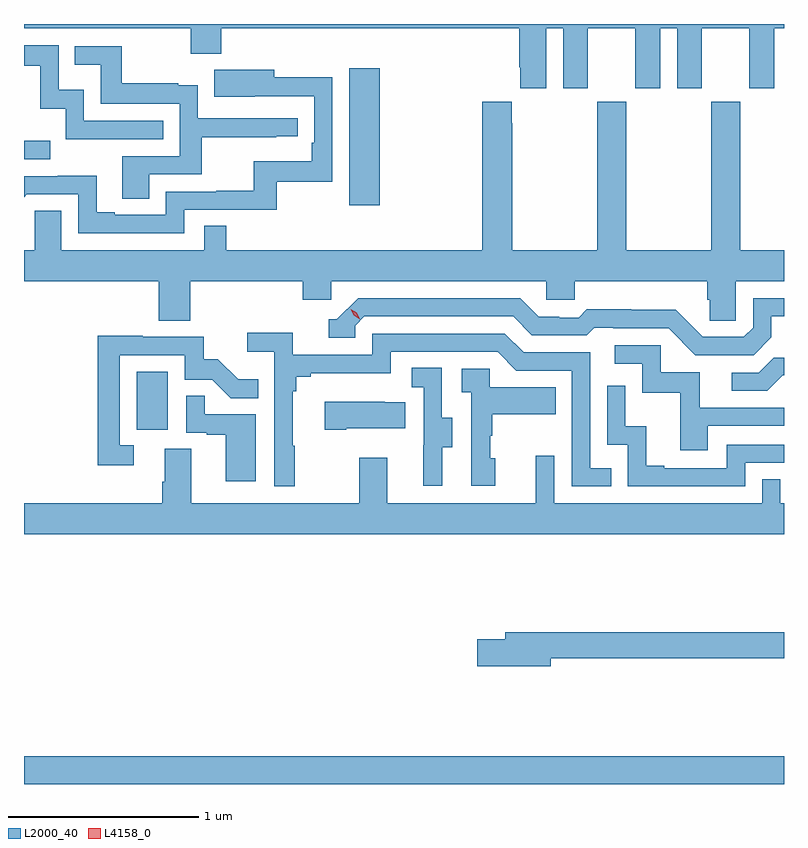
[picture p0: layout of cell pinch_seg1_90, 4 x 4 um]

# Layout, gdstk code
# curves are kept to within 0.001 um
import gdstk
lib = gdstk.Library(unit=1e-6, precision=1e-09)
def R(c, l, rs):  # rectangles x0, y0, x1, y1
    for r in rs: c.add(gdstk.rectangle(r[:2], r[2:], *l))
def P(c, l, *ps):  # polygons
    for p in ps: c.add(gdstk.Polygon(p, *l))
L2000_40 = (2000, 40)
L4158_0 = (4158, 0)

pinch_seg1_90 = lib.new_cell('pinch_seg1_90')
R(pinch_seg1_90, L2000_40, [(1019.871,551.75,1023.871,551.896), (1020.464,553.614,1020.628,553.921), (1021.583,554.796,1021.744,555.517), (1019.871,555.039,1020.01,555.136)])
P(pinch_seg1_90, L2000_40, [(1022.62,555.728),(1022.708,555.728),(1022.708,555.411),(1022.839,555.411),(1022.839,555.728),(1023.089,555.728),(1023.089,555.411),(1023.22,555.411),(1023.22,555.728),(1023.308,555.728),(1023.308,555.411),(1023.439,555.411),(1023.439,555.728),(1023.689,555.728),(1023.689,555.411),(1023.82,555.411),(1023.82,555.728),(1023.871,555.728),(1023.871,555.75),(1019.871,555.75),(1019.871,555.728),(1020.748,555.728),(1020.748,555.593),(1020.908,555.593),(1020.908,555.728),(1022.477,555.728),(1022.477,555.523),(1022.483,555.523),(1022.483,555.411),(1022.62,555.411)],
  [(1020.605,555.24),(1020.186,555.24),(1020.186,555.403),(1020.054,555.403),(1020.054,555.639),(1019.871,555.639),(1019.871,555.531),(1019.957,555.531),(1019.957,555.305),(1020.09,555.305),(1020.09,555.144),(1020.605,555.144)],
  [(1020.529,554.958),(1020.806,554.958),(1020.806,555.154),(1021.199,555.154),(1021.199,555.159),(1021.312,555.159),(1021.312,555.255),(1020.786,555.255),(1020.786,555.427),(1020.683,555.427),(1020.683,555.439),(1020.385,555.439),(1020.385,555.633),(1020.139,555.633),(1020.139,555.536),(1020.274,555.536),(1020.274,555.33),(1020.69,555.33),(1020.69,555.054),(1020.389,555.054),(1020.389,554.83),(1020.529,554.83)],
  [(1020.714,554.772),(1021.201,554.772),(1021.201,554.919),(1021.494,554.919),(1021.494,555.47),(1021.189,555.47),(1021.189,555.508),(1020.871,555.508),(1020.871,555.368),(1021.398,555.369),(1021.398,555.124),(1021.385,555.124),(1021.385,555.028),(1021.08,555.028),(1021.08,554.873),(1020.883,554.873),(1020.883,554.868),(1020.618,554.868),(1020.618,554.745),(1020.349,554.745),(1020.349,554.758),(1020.253,554.758),(1020.253,554.951),(1020.048,554.951),(1020.048,554.949),(1019.871,554.949),(1019.871,554.838),(1019.886,554.853),(1020.156,554.853),(1020.156,554.649),(1020.714,554.649)],
  [(1020.746,554.396),(1021.337,554.396),(1021.337,554.298),(1021.488,554.298),(1021.488,554.396),(1022.619,554.396),(1022.619,554.298),(1022.769,554.298),(1022.769,554.396),(1023.467,554.396),(1023.467,554.298),(1023.481,554.298),(1023.481,554.188),(1023.618,554.188),(1023.618,554.396),(1023.871,554.396),(1023.871,554.56),(1023.642,554.56),(1023.642,555.34),(1023.487,555.34),(1023.487,554.56),(1023.042,554.56),(1023.042,555.34),(1022.887,555.34),(1022.887,554.56),(1022.442,554.56),(1022.442,555.227),(1022.437,555.227),(1022.437,555.34),(1022.282,555.34),(1022.282,554.56),(1020.935,554.56),(1020.935,554.687),(1020.819,554.687),(1020.819,554.56),(1020.067,554.56),(1020.067,554.768),(1019.928,554.768),(1019.928,554.56),(1019.871,554.56),(1019.871,554.396),(1020.581,554.396),(1020.581,554.188),(1020.746,554.188)],
  [(1023.805,554.101),(1023.805,554.211),(1023.871,554.211),(1023.871,554.307),(1023.708,554.307),(1023.708,554.151),(1023.66,554.103),(1023.444,554.103),(1023.302,554.245),(1023.066,554.245),(1023.066,554.248),(1022.833,554.248),(1022.791,554.205),(1022.688,554.205),(1022.688,554.208),(1022.581,554.208),(1022.482,554.307),(1021.629,554.307),(1021.518,554.196),(1021.475,554.196),(1021.475,554.1),(1021.614,554.1),(1021.614,554.163),(1021.662,554.211),(1022.445,554.211),(1022.544,554.112),(1022.833,554.112),(1022.872,554.151),(1022.971,554.151),(1022.971,554.148),(1023.264,554.148),(1023.405,554.007),(1023.711,554.007)],
  [(1021.297,553.529),(1021.285,553.529),(1021.285,553.817),(1021.304,553.817),(1021.304,553.894),(1021.381,553.894),(1021.381,553.913),(1021.8,553.913),(1021.8,554.025),(1022.364,554.025),(1022.463,553.926),(1022.754,553.926),(1022.754,553.317),(1022.963,553.317),(1022.963,553.413),(1022.85,553.413),(1022.85,554.022),(1022.5,554.022),(1022.401,554.121),(1021.704,554.121),(1021.704,554.01),(1021.286,554.01),(1021.286,554.126),(1021.047,554.126),(1021.047,554.024),(1021.188,554.024),(1021.188,553.317),(1021.297,553.317)],
  [(1020.448,553.533),(1020.375,553.533),(1020.375,554.007),(1020.717,554.007),(1020.717,553.878),(1020.861,553.878),(1020.959,553.78),(1021.103,553.78),(1021.103,553.879),(1020.999,553.879),(1020.892,553.986),(1020.816,553.986),(1020.816,554.103),(1020.497,554.103),(1020.497,554.108),(1020.259,554.108),(1020.259,553.428),(1020.448,553.428)],
  [(1023.469,553.635),(1023.871,553.635),(1023.871,553.731),(1023.427,553.731),(1023.427,553.917),(1023.222,553.917),(1023.222,554.058),(1022.979,554.058),(1022.979,553.962),(1023.126,553.962),(1023.126,553.809),(1023.325,553.809),(1023.325,553.506),(1023.469,553.506)],
  [(1023.865,553.902),(1023.871,553.902),(1023.871,553.994),(1023.818,553.994),(1023.738,553.914),(1023.597,553.914),(1023.597,553.821),(1023.784,553.821)],
  [(1022.071,553.522),(1022.125,553.522),(1022.125,553.677),(1022.07,553.677),(1022.07,553.94),(1021.911,553.94),(1021.911,553.837),(1021.974,553.837),(1021.974,553.533),(1021.973,553.533),(1021.973,553.32),(1022.071,553.32)],
  [(1022.35,553.464),(1022.325,553.464),(1022.325,553.583),(1022.335,553.583),(1022.335,553.697),(1022.669,553.697),(1022.669,553.837),(1022.322,553.837),(1022.322,553.935),(1022.175,553.935),(1022.175,553.811),(1022.226,553.811),(1022.226,553.32),(1022.35,553.32)],
  [(1023.666,553.44),(1023.871,553.44),(1023.871,553.536),(1023.57,553.536),(1023.57,553.413),(1023.241,553.413),(1023.241,553.426),(1023.146,553.426),(1023.146,553.634),(1023.036,553.634),(1023.036,553.846),(1022.94,553.846),(1022.94,553.536),(1023.048,553.536),(1023.048,553.317),(1023.666,553.317)],
  [(1021.09,553.695),(1020.821,553.695),(1020.821,553.793),(1020.726,553.793),(1020.726,553.599),(1020.833,553.599),(1020.833,553.587),(1020.932,553.587),(1020.932,553.344),(1021.09,553.344)],
  [(1021.567,553.622),(1021.877,553.622),(1021.877,553.759),(1021.769,553.759),(1021.769,553.762),(1021.455,553.762),(1021.455,553.615),(1021.567,553.615)],
  [(1023.871,553.228),(1023.852,553.228),(1023.852,553.355),(1023.756,553.355),(1023.756,553.228),(1022.661,553.228),(1022.661,553.477),(1022.564,553.477),(1022.564,553.228),(1021.783,553.228),(1021.783,553.468),(1021.636,553.468),(1021.636,553.228),(1020.751,553.228),(1020.751,553.514),(1020.611,553.514),(1020.611,553.34),(1020.599,553.34),(1020.599,553.228),(1019.871,553.228),(1019.871,553.064),(1023.871,553.064)],
  [(1022.644,552.412),(1023.871,552.412),(1023.871,552.548),(1022.405,552.548),(1022.405,552.512),(1022.256,552.512),(1022.256,552.37),(1022.644,552.37)])
P(pinch_seg1_90, L4158_0, [(1021.637,554.196),(1021.606,554.216),(1021.591,554.249),(1021.591,554.249),(1021.591,554.249),(1021.622,554.229),(1021.637,554.196),(1021.637,554.196)])

lib.write_gds('pinch_seg1_90.gds')
